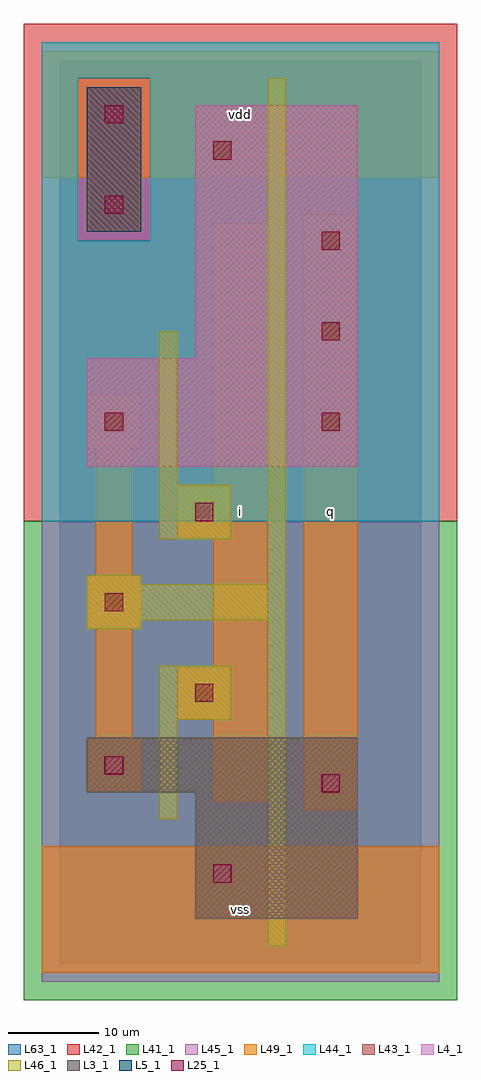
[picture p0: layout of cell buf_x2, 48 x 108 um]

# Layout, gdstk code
import gdstk
lib = gdstk.Library(unit=1e-6, precision=1e-09)
def R(c, l, rs):  # rectangles x0, y0, x1, y1
    for r in rs: c.add(gdstk.rectangle(r[:2], r[2:], *l))
def A(c, l, x, y, w, h, nx, ny, dx, dy):  # array of equal rectangles
    R(c, l, [(x+i*dx, y+j*dy, x+i*dx+w, y+j*dy+h) for i in range(nx) for j in range(ny)])
L3_1 = (3, 1)
L4_1 = (4, 1)
L5_1 = (5, 1)
L25_1 = (25, 1)
L41_1 = (41, 1)
L42_1 = (42, 1)
L43_1 = (43, 1)
L44_1 = (44, 1)
L45_1 = (45, 1)
L46_1 = (46, 1)
L49_1 = (49, 1)
L63_1 = (63, 1)

buf_x2 = lib.new_cell('buf_x2')
R(buf_x2, L3_1, [(15,5,33,19), (3,19,33,25)])
R(buf_x2, L4_1, [(3,55,33,67), (15,67,33,95)])
R(buf_x2, L5_1, [(3,81,9,97)])
A(buf_x2, L25_1, 29, 59, 2, 2, 1, 3, 0, 10)
R(buf_x2, L25_1, [(17,9,19,11), (29,19,31,21), (5,21,7,23), (15,29,17,31), (5,39,7,41), (15,49,17,51), (5,59,7,61), (5,83,7,85), (17,89,19,91), (5,93,7,95)])
R(buf_x2, L41_1, [(-4,-4,44,49)])
R(buf_x2, L42_1, [(-4,49,44,104)])
R(buf_x2, L43_1, [(15,5,33,19), (3,19,33,25), (3,55,33,67), (15,67,33,95), (3,81,9,97)])
R(buf_x2, L44_1, [(-2,49,42,80), (-2,80,2,98), (10,80,42,98), (-2,98,42,102)])
R(buf_x2, L45_1, [(-2,-2,42,49), (2,80,10,98)])
R(buf_x2, L46_1, [(23,2,25,38), (11,16,13,27), (11,27,19,33), (3,37,9,38), (3,38,25,42), (3,42,9,43), (23,42,25,98), (11,47,19,53), (11,53,13,70)])
R(buf_x2, L49_1, [(-2,-1,42,13), (27,17,33,83), (17,18,23,27), (3,19,9,25), (4,25,8,37), (13,27,23,33), (17,33,23,47), (3,37,9,43), (4,43,8,57), (13,47,23,53), (17,53,23,82), (3,57,9,63), (3,81,9,87), (-2,87,42,101)])
R(buf_x2, L63_1, [(0,0,40,100)])
buf_x2.add(gdstk.Label('vss', (20,6), layer=49, texttype=1))
buf_x2.add(gdstk.Label('vss', (20,6), layer=49, texttype=1))
buf_x2.add(gdstk.Label('q', (30,50), layer=49, texttype=1))
buf_x2.add(gdstk.Label('q', (30,50), layer=49, texttype=1))
buf_x2.add(gdstk.Label('i', (20,50), layer=49, texttype=1))
buf_x2.add(gdstk.Label('i', (20,50), layer=49, texttype=1))
buf_x2.add(gdstk.Label('vdd', (20,94), layer=49, texttype=1))
buf_x2.add(gdstk.Label('vdd', (20,94), layer=49, texttype=1))

lib.write_gds('buf_x2.gds')
